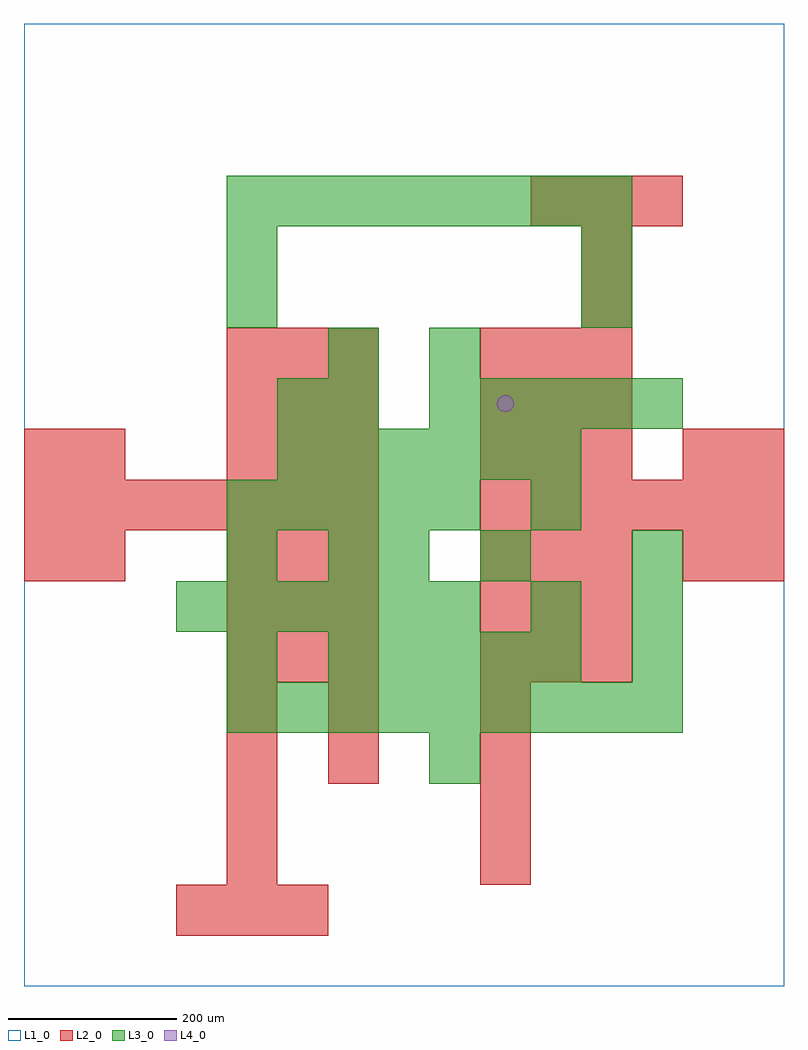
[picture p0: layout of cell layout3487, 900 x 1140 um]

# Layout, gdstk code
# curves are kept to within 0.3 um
import gdstk
lib = gdstk.Library(unit=1e-6, precision=1e-09)
def R(c, l, rs):  # rectangles x0, y0, x1, y1
    for r in rs: c.add(gdstk.rectangle(r[:2], r[2:], *l))
def A(c, l, x, y, w, h, nx, ny, dx, dy):  # array of equal rectangles
    R(c, l, [(x+i*dx, y+j*dy, x+i*dx+w, y+j*dy+h) for i in range(nx) for j in range(ny)])
def P(c, l, *ps):  # polygons
    for p in ps: c.add(gdstk.Polygon(p, *l))
L1_0 = (1, 0)
L2_0 = (2, 0)
L3_0 = (3, 0)
L4_0 = (4, 0)

layout3487 = lib.new_cell('layout3487')
R(layout3487, L1_0, [(0,0,900,1140)])
A(layout3487, L2_0, 180, 60, 60, 60, 3, 1, 60, 0)
A(layout3487, L2_0, 240, 120, 60, 60, 1, 4, 0, 60)
A(layout3487, L2_0, 540, 120, 60, 60, 1, 4, 0, 60)
A(layout3487, L2_0, 240, 360, 60, 60, 3, 3, 60, 60)
A(layout3487, L2_0, 540, 360, 60, 60, 3, 3, 60, 60)
A(layout3487, L2_0, 0, 540, 60, 60, 7, 1, 60, 0)
A(layout3487, L2_0, 540, 540, 60, 60, 6, 1, 60, 0)
A(layout3487, L2_0, 240, 600, 60, 60, 3, 3, 60, 60)
A(layout3487, L2_0, 540, 600, 60, 60, 3, 3, 60, 60)
A(layout3487, L2_0, 600, 900, 60, 60, 3, 1, 60, 0)
R(layout3487, L2_0, [(360,240,420,300), (360,300,420,360), (0,480,60,540), (60,480,120,540), (780,480,840,540), (840,480,900,540), (0,600,60,660), (60,600,120,660), (780,600,840,660), (840,600,900,660), (660,780,720,840), (660,840,720,900)])
A(layout3487, L3_0, 240, 300, 60, 60, 9, 1, 60, 0)
A(layout3487, L3_0, 360, 360, 60, 60, 5, 1, 60, 0)
A(layout3487, L3_0, 720, 360, 60, 60, 1, 3, 0, 60)
A(layout3487, L3_0, 180, 420, 60, 60, 6, 1, 60, 0)
A(layout3487, L3_0, 240, 540, 60, 60, 5, 1, 60, 0)
A(layout3487, L3_0, 300, 600, 60, 60, 6, 1, 60, 0)
A(layout3487, L3_0, 480, 660, 60, 60, 5, 1, 60, 0)
A(layout3487, L3_0, 240, 900, 60, 60, 8, 1, 60, 0)
R(layout3487, L3_0, [(480,240,540,300), (240,360,300,420), (600,420,660,480), (240,480,300,540), (360,480,420,540), (420,480,480,540), (540,480,600,540), (600,540,660,600), (300,660,360,720), (360,660,420,720), (360,720,420,780), (480,720,540,780), (240,780,300,840), (660,780,720,840), (240,840,300,900), (660,840,720,900)])
P(layout3487, L4_0, [(580,690),(579.239,693.827),(577.071,697.071),(573.827,699.239),(570,700),(566.173,699.239),(562.929,697.071),(560.761,693.827),(560,690),(560.761,686.173),(562.929,682.929),(566.173,680.761),(570,680),(573.827,680.761),(577.071,682.929),(579.239,686.173)])

lib.write_gds('layout3487.gds')
